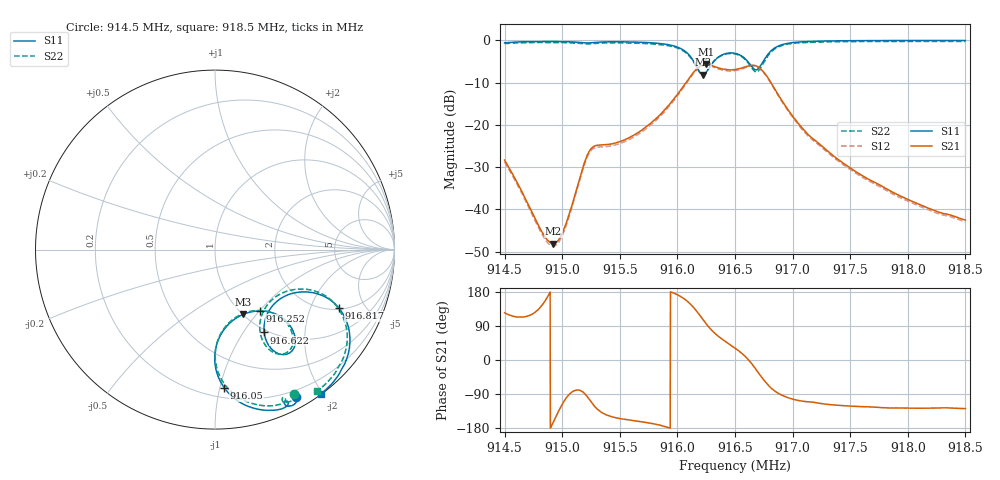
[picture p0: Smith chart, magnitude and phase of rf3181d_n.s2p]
!RF3181D
# HZ S RI R 50
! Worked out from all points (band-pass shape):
!   1601 points, 914.5 MHz to 918.5 MHz, reference 50 ohm
!   highest |S21| = -5.71 dB at 916.25 MHz (marker M1); lowest = -48.1 dB at 914.922 MHz (marker M2)
!   |S21| within 3 dB of the highest: 916.1078 MHz to 916.7825 MHz (674.7 kHz wide, 0.0736 % of centre)
!   lowest |S11| = -8.1 dB at 916.222 MHz (marker M3), VSWR 2.30, Z = 50.4 - j43 ohm
!   |S11| at or under -10 dB: nowhere
!   |S22| runs from -8.2 to -0.2 dB; largest |S21 - S12| = 0.015
!   S11 on the Smith chart (normalised r, x): 914.5 MHz: 0.13, -1.69; 916.05 MHz: 0.27, -1.03; 916.252 MHz: 1.21, -1.01; 916.622 MHz: 0.96, -1.25; 916.817 MHz: 2.08, -3.22; 918.5 MHz: 0.01, -1.98
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9.145e8  0.4533 -0.8185  -0.0218 0.0316  -0.0204 0.0304  0.4391 -0.8037
9.1483e8  0.4375 -0.8647  -0.00439 0.00289  -0.00406 0.00279  0.4219 -0.8449
9.149225e8  0.4261 -0.8699  -0.00381 -0.00107  -0.00356 -0.000969  0.4106 -0.8495
9.15015e8  0.4119 -0.8722  -0.00189 -0.00549  -0.00178 -0.00517  0.3973 -0.8517
9.151675e8  0.3876 -0.8579  0.00386 -0.0274  0.00356 -0.0262  0.3737 -0.8375
9.152675e8  0.406 -0.8468  -0.0252 -0.0488  -0.0244 -0.0462  0.39 -0.8263
9.15565e8  0.3529 -0.8919  -0.0637 -0.026  -0.0606 -0.0246  0.3408 -0.8678
9.158349e8  0.2397 -0.8893  -0.1248 -0.0198  -0.119 -0.0193  0.2332 -0.8643
9.1605e8  0.0517 -0.7697  -0.2722 0.0815  -0.2634 0.0764  0.0533 -0.7505
9.161475e8  0.0047 -0.5467  -0.3102 0.2975  -0.3035 0.2883  0.00717 -0.5359
9.162225e8  0.1581 -0.3606  -0.1449 0.4912  -0.1407 0.4805  0.1579 -0.3558
9.1625e8  0.2445 -0.3418  -0.0498 0.5159  -0.0461 0.5044  0.2427 -0.3391
9.162525e8  0.2523 -0.3418  -0.0412 0.5164  -0.0376 0.5048  0.2501 -0.3392
9.163574e8  0.4387 -0.4622  0.2202 0.416  0.2188 0.4023  0.4287 -0.4625
9.165e8  0.3893 -0.5847  0.3848 0.2353  0.3759 0.2247  0.3723 -0.5824
9.166225e8  0.2742 -0.4616  0.5012 -0.013  0.4895 -0.0171  0.2513 -0.4587
9.16725e8  0.4501 -0.2396  0.3343 -0.3103  0.3226 -0.3101  0.4225 -0.2259
9.168175e8  0.6895 -0.3246  0.0792 -0.2969  0.0699 -0.2927  0.6715 -0.3071
9.169725e8  0.7484 -0.5517  -0.0266 -0.1405  -0.0301 -0.1354  0.7328 -0.5389
9.171675e8  0.7046 -0.6672  -0.0252 -0.0657  -0.026 -0.0623  0.6868 -0.6548
9.178349e8  0.6237 -0.7738  -0.0101 -0.0137  -0.00999 -0.0128  0.6045 -0.7589
9.185e8  0.591 -0.8027  -0.00463 -0.00588  -0.00453 -0.00551  0.5708 -0.7862
